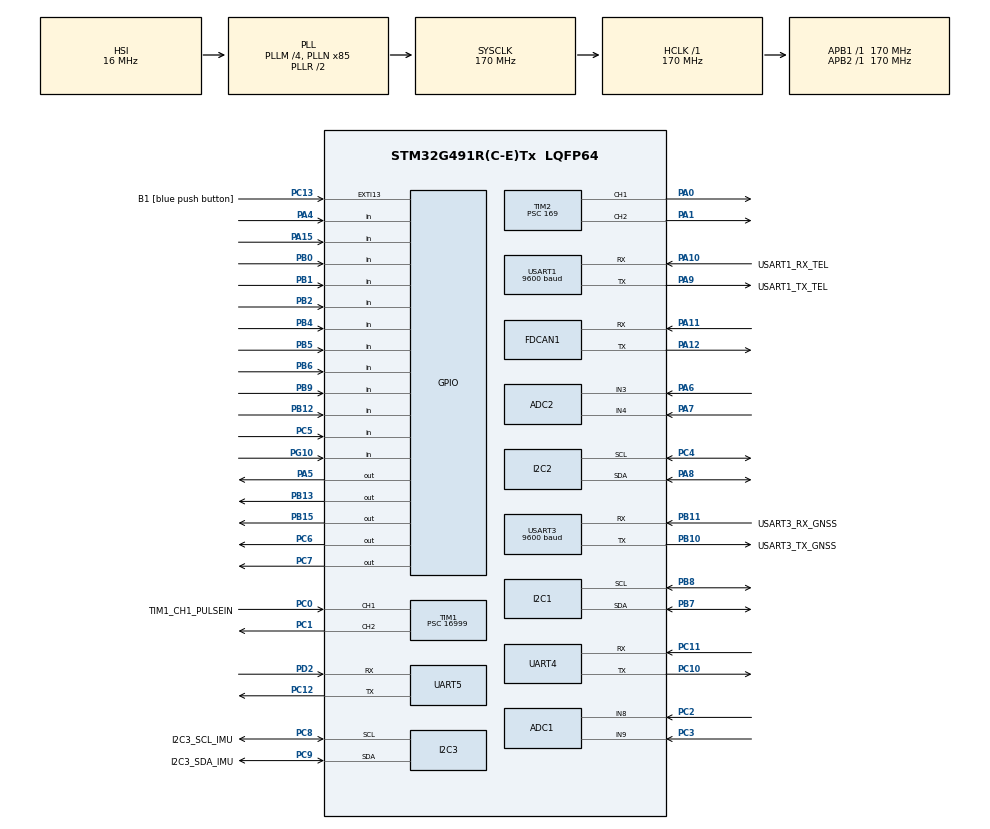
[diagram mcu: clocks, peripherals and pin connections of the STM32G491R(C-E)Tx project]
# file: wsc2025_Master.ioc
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ADC1.Channel-0\#ChannelRegularConversion=ADC_CHANNEL_8
ADC1.NbrOfConversionFlag=1
ADC1.OffsetNumber-0\#ChannelRegularConversion=ADC_OFFSET_NONE
ADC1.Rank-0\#ChannelRegularConversion=1
ADC1.SamplingTime-0\#ChannelRegularConversion=ADC_SAMPLETIME_2CYCLES_5
ADC1.master=1
ADC2.Channel-0\#ChannelRegularConversion=ADC_CHANNEL_3
ADC2.NbrOfConversionFlag=1
ADC2.OffsetNumber-0\#ChannelRegularConversion=ADC_OFFSET_NONE
ADC2.Rank-0\#ChannelRegularConversion=1
ADC2.SamplingTime-0\#ChannelRegularConversion=ADC_SAMPLETIME_2CYCLES_5
Dma.Request0=USART1_RX
Dma.Request1=USART1_TX
Dma.Request2=USART3_RX
Dma.USART1_RX.0.Direction=DMA_PERIPH_TO_MEMORY
Dma.USART1_RX.0.EventEnable=DISABLE
Dma.USART1_RX.0.Instance=DMA1_Channel1
Dma.USART1_RX.0.MemDataAlignment=DMA_MDATAALIGN_BYTE
Dma.USART1_RX.0.MemInc=DMA_MINC_ENABLE
Dma.USART1_RX.0.Mode=DMA_NORMAL
Dma.USART1_RX.0.PeriphDataAlignment=DMA_PDATAALIGN_BYTE
Dma.USART1_RX.0.PeriphInc=DMA_PINC_DISABLE
Dma.USART1_RX.0.Polarity=HAL_DMAMUX_REQ_GEN_RISING
Dma.USART1_RX.0.Priority=DMA_PRIORITY_LOW
Dma.USART1_RX.0.RequestNumber=1
Dma.USART1_RX.0.SignalID=NONE
Dma.USART1_RX.0.SyncEnable=DISABLE
Dma.USART1_RX.0.SyncPolarity=HAL_DMAMUX_SYNC_NO_EVENT
Dma.USART1_RX.0.SyncRequestNumber=1
Dma.USART1_RX.0.SyncSignalID=NONE
Dma.USART1_TX.1.Direction=DMA_MEMORY_TO_PERIPH
Dma.USART1_TX.1.EventEnable=DISABLE
Dma.USART1_TX.1.Instance=DMA1_Channel2
Dma.USART1_TX.1.MemDataAlignment=DMA_MDATAALIGN_BYTE
Dma.USART1_TX.1.MemInc=DMA_MINC_ENABLE
Dma.USART1_TX.1.Mode=DMA_NORMAL
Dma.USART1_TX.1.PeriphDataAlignment=DMA_PDATAALIGN_BYTE
Dma.USART1_TX.1.PeriphInc=DMA_PINC_DISABLE
Dma.USART1_TX.1.Polarity=HAL_DMAMUX_REQ_GEN_RISING
Dma.USART1_TX.1.Priority=DMA_PRIORITY_LOW
Dma.USART1_TX.1.RequestNumber=1
Dma.USART1_TX.1.SignalID=NONE
Dma.USART1_TX.1.SyncEnable=DISABLE
Dma.USART1_TX.1.SyncPolarity=HAL_DMAMUX_SYNC_NO_EVENT
Dma.USART1_TX.1.SyncRequestNumber=1
Dma.USART1_TX.1.SyncSignalID=NONE
Dma.USART3_RX.2.Direction=DMA_PERIPH_TO_MEMORY
Dma.USART3_RX.2.EventEnable=DISABLE
Dma.USART3_RX.2.Instance=DMA1_Channel3
Dma.USART3_RX.2.MemDataAlignment=DMA_MDATAALIGN_BYTE
Dma.USART3_RX.2.MemInc=DMA_MINC_ENABLE
Dma.USART3_RX.2.Mode=DMA_CIRCULAR
Dma.USART3_RX.2.PeriphDataAlignment=DMA_PDATAALIGN_BYTE
Dma.USART3_RX.2.PeriphInc=DMA_PINC_DISABLE
Dma.USART3_RX.2.Polarity=HAL_DMAMUX_REQ_GEN_RISING
Dma.USART3_RX.2.Priority=DMA_PRIORITY_LOW
Dma.USART3_RX.2.RequestNumber=1
Dma.USART3_RX.2.SignalID=NONE
Dma.USART3_RX.2.SyncEnable=DISABLE
Dma.USART3_RX.2.SyncPolarity=HAL_DMAMUX_SYNC_NO_EVENT
Dma.USART3_RX.2.SyncRequestNumber=1
Dma.USART3_RX.2.SyncSignalID=NONE
FDCAN1.CalculateBaudRateNominal=500000
FDCAN1.CalculateTimeBitNominal=2000
FDCAN1.CalculateTimeQuantumNominal=400.0
FDCAN1.NominalPrescaler=68
I2C1.Timing=0x40B285C2
I2C2.Timing=0x40B285C2
I2C3.Timing=0x40B285C2
Mcu.Family=STM32G4
Mcu.Name=STM32G491R(C-E)Tx
Mcu.Package=LQFP64
NUCLEO-G491RE.Bsp_Common_DEMO=true
NUCLEO-G491RE.LD2=true
NUCLEO-G491RE.VCP=true
NVIC.DMA1_Channel1_IRQn=true\:0\:0\:false\:false\:true\:false\:true\:true
NVIC.DMA1_Channel2_IRQn=true\:0\:0\:false\:false\:true\:false\:true\:true
NVIC.DMA1_Channel3_IRQn=true\:0\:0\:false\:false\:true\:false\:true\:true
NVIC.EXTI15_10_IRQn=true\:0\:0\:false\:false\:true\:true\:true\:true
NVIC.FDCAN1_IT0_IRQn=true\:0\:0\:false\:false\:true\:true\:true\:true
NVIC.PriorityGroup=NVIC_PRIORITYGROUP_4
NVIC.TIM1_CC_IRQn=true\:0\:0\:false\:false\:true\:true\:true\:true
PA0.Signal=S_TIM2_CH1
PA1.Signal=S_TIM2_CH2
PA10.GPIO_Label=USART1_RX_TEL
PA10.Mode=Asynchronous
PA10.Signal=USART1_RX
PA11.Mode=FDCAN_Activate
PA11.Signal=FDCAN1_RX
PA12.Mode=FDCAN_Activate
PA12.Signal=FDCAN1_TX
PA13.GPIO_Label=T_SWDIO
PA13.Signal=SYS_JTMS-SWDIO
PA14.GPIO_Label=T_SWCLK
PA14.Signal=SYS_JTCK-SWCLK
PA15.Signal=GPIO_Input
PA2.Signal=LPUART1_TX
PA3.Signal=LPUART1_RX
PA4.Signal=GPIO_Input
PA5.Signal=GPIO_Output
PA6.Mode=IN3-Single-Ended
PA6.Signal=ADC2_IN3
PA7.Mode=IN4-Single-Ended
PA7.Signal=ADC2_IN4
PA8.Mode=I2C
PA8.Signal=I2C2_SDA
PA9.GPIO_Label=USART1_TX_TEL
PA9.Mode=Asynchronous
PA9.Signal=USART1_TX
PB0.Signal=GPIO_Input
PB1.Signal=GPIO_Input
PB10.GPIO_Label=USART3_TX_GNSS
PB10.Mode=Asynchronous
PB10.Signal=USART3_TX
PB11.GPIO_Label=USART3_RX_GNSS
PB11.Mode=Asynchronous
PB11.Signal=USART3_RX
PB12.Signal=GPIO_Input
PB13.Signal=GPIO_Output
PB14.Signal=S_TIM15_CH1
PB15.Signal=GPIO_Output
PB2.Signal=GPIO_Input
PB3.GPIO_Label=T_SWO
PB3.Signal=SYS_JTDO-SWO
PB4.Signal=GPIO_Input
PB5.Signal=GPIO_Input
PB6.Signal=GPIO_Input
PB7.Mode=I2C
PB7.Signal=I2C1_SDA
PB8-BOOT0.Mode=I2C
PB8-BOOT0.Signal=I2C1_SCL
PB9.Signal=GPIO_Input
PC0.GPIO_Label=TIM1_CH1_PULSEIN
PC0.Signal=S_TIM1_CH1
PC1.Signal=S_TIM1_CH2
PC10.Mode=Asynchronous
PC10.Signal=UART4_TX
PC11.Mode=Asynchronous
PC11.Signal=UART4_RX
PC12.Mode=Asynchronous
PC12.Signal=UART5_TX
PC13.GPIO_Label=B1 [blue push button]
PC13.Signal=GPXTI13
PC14-OSC32_IN.GPIO_Label=RCC_OSC32_IN
PC14-OSC32_IN.Mode=LSE-External-Oscillator
PC14-OSC32_IN.Signal=RCC_OSC32_IN
PC15-OSC32_OUT.GPIO_Label=RCC_OSC32_OUT
PC15-OSC32_OUT.Mode=LSE-External-Oscillator
PC15-OSC32_OUT.Signal=RCC_OSC32_OUT
PC2.Mode=IN8-Single-Ended
PC2.Signal=ADC1_IN8
PC3.Mode=IN9-Single-Ended
PC3.Signal=ADC1_IN9
PC4.Mode=I2C
PC4.Signal=I2C2_SCL
PC5.Signal=GPIO_Input
PC6.Signal=GPIO_Output
PC7.Signal=GPIO_Output
PC8.GPIO_Label=I2C3_SCL_IMU
PC8.Mode=I2C
PC8.Signal=I2C3_SCL
PC9.GPIO_Label=I2C3_SDA_IMU
PC9.Mode=I2C
PC9.Signal=I2C3_SDA
PD2.Mode=Asynchronous
PD2.Signal=UART5_RX
PF0-OSC_IN.GPIO_Label=RCC_OSC_IN
PF0-OSC_IN.Mode=HSE-External-Oscillator
PF0-OSC_IN.Signal=RCC_OSC_IN
PF1-OSC_OUT.GPIO_Label=RCC_OSC_OUT
PF1-OSC_OUT.Mode=HSE-External-Oscillator
PF1-OSC_OUT.Signal=RCC_OSC_OUT
PG10-NRST.Signal=GPIO_Input
ProjectManager.HeapSize=0x200
ProjectManager.StackSize=0x400
ProjectManager.TargetToolchain=STM32CubeIDE
RCC.ADC12Freq_Value=170000000
RCC.ADC345Freq_Value=170000000
RCC.AHBFreq_Value=170000000
RCC.APB1Freq_Value=170000000
RCC.APB1TimFreq_Value=170000000
RCC.APB2Freq_Value=170000000
RCC.APB2TimFreq_Value=170000000
RCC.CortexFreq_Value=170000000
RCC.EXTERNAL_CLOCK_VALUE=12288000
RCC.HCLKFreq_Value=170000000
RCC.HSE_VALUE=24000000
RCC.HSI48_VALUE=48000000
RCC.HSI_VALUE=16000000
RCC.PLLM=RCC_PLLM_DIV4
RCC.PLLN=85
RCC.RTCClockSelection=RCC_RTCCLKSOURCE_LSE
RCC.SYSCLKFreq_VALUE=170000000
RCC.SYSCLKSource=RCC_SYSCLKSOURCE_PLLCLK
RCC.USBFreq_Value=48000000
RCC.VCOOutputFreq_Value=340000000
SH.S_TIM15_CH1.0=TIM15_CH1
SH.S_TIM1_CH1.0=TIM1_CH1,Input_Capture1_from_TI1
SH.S_TIM1_CH2.0=TIM1_CH2,PWM Generation2 CH2
SH.S_TIM2_CH1.0=TIM2_CH1,PWM Generation1 CH1
SH.S_TIM2_CH2.0=TIM2_CH2,PWM Generation2 CH2
TIM1.Channel-Input_Capture1_from_TI1=TIM_CHANNEL_1
TIM1.Channel-PWM\ Generation2\ CH2=TIM_CHANNEL_2
TIM1.Prescaler=16999
TIM2.Channel-PWM\ Generation1\ CH1=TIM_CHANNEL_1
TIM2.Channel-PWM\ Generation2\ CH2=TIM_CHANNEL_2
TIM2.PeriodNoDither=4999
TIM2.Prescaler=169
USART1.BaudRate=9600
USART1.VirtualMode-Asynchronous=VM_ASYNC
USART3.BaudRate=9600
USART3.VirtualMode-Asynchronous=VM_ASYNC
VP_NUCLEO-G491RE_VS_BSP_COMMON.Mode=COMMON
VP_SYS_VS_DBSignals.Mode=DisableDeadBatterySignals
board=NUCLEO-G491RE

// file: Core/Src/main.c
/* USER CODE BEGIN Header */
/**
  ******************************************************************************
  * @file           : main.c
  * @brief          : Main program body
  ******************************************************************************
  * @attention
  *
  * Copyright (c) 2024 STMicroelectronics.
  * All rights reserved.
  *
  * This software is licensed under terms that can be found in the LICENSE file
  * in the root directory of this software component.
  * If no LICENSE file comes with this software, it is provided AS-IS.
  *
  ******************************************************************************
  */
/* USER CODE END Header */
#include "main.h"

/* USER CODE BEGIN Includes */
#include "stdbool.h"
#include "string.h"
#include "stdio.h" // for snprintf
#include "can.h"	// CAN

/* USER CODE END Includes */

/* USER CODE BEGIN PTD */
////////////////////////////////////////////////////////////////////
////////////////////////////////////////////////////////////////////
typedef enum {    // FSM State
    STATE_POWER_OFF,
    STATE_INIT_ECU,
    STATE_INIT_SYSTEM,
    STATE_FAILURE,
    STATE_MANUAL_DRIVE,
    STATE_CRUISE_DRIVE
} VehicleState;

typedef struct {	// CanMessage
	uint32_t id;
	uint8_t data[8];
	uint8_t dlc;
} CANMessage;

/* USER CODE END PTD */

/* USER CODE BEGIN PD */
////////////////////////////////////////////////////////////////////
////////////////////////////////////////////////////////////////////
#define RX_BUFFER_SIZE 64
#define TX_BUFFER_SIZE 64

// Blink interval for LED Test
#define LED_BLINK_INTERVAL_POWER_OFF   1000  // 1.0s
#define LED_BLINK_INTERVAL_INIT_ECU    500   // 0.5s
#define LED_BLINK_INTERVAL_INIT_SYSTEM 200   // 0.2s
#define LED_BLINK_INTERVAL_FAILURE     100   // 0.1s
#define LED_BLINK_INTERVAL_MANUAL_DRIVE 300  // 0.3s
#define LED_BLINK_INTERVAL_CRUISE_DRIVE 800  // 0.8s

#define WHEEL_DIAMETER_MM 560    // wheel diameter(mm)
#define PULSE_PER_ROTATION 48    // pulse per rotation
#define TIMEOUT_THRESHOLD_MS 500 // Tiemout for velocity 0

#define VCP_UART &hcom_uart[COM1] // vpc uart port number

// Switch Debouncing time
#define DEBOUNCE_DELAY 50 // 50ms

// CAN Message
#define MAX_CAN_MESSAGES 42  // max can message to receive
#define UART_SEND_INTERVAL	100 // UART transmission period for CAN Message serial print

/* USER CODE END PD */

COM_InitTypeDef BspCOMInit;
__IO uint32_t BspButtonState = BUTTON_RELEASED;
ADC_HandleTypeDef hadc1;
ADC_HandleTypeDef hadc2;

FDCAN_HandleTypeDef hfdcan1;

I2C_HandleTypeDef hi2c1;
I2C_HandleTypeDef hi2c2;
I2C_HandleTypeDef hi2c3;

TIM_HandleTypeDef htim1;
TIM_HandleTypeDef htim2;

UART_HandleTypeDef huart4;
UART_HandleTypeDef huart5;
UART_HandleTypeDef huart1;
UART_HandleTypeDef huart3;
DMA_HandleTypeDef hdma_usart1_rx;
DMA_HandleTypeDef hdma_usart1_tx;
DMA_HandleTypeDef hdma_usart3_rx;

/* USER CODE BEGIN PV */
////////////////////////////////////////////////////////////////////
////////////////////////////////////////////////////////////////////
uint8_t rxBuffer[RX_BUFFER_SIZE];
uint8_t txBuffer[TX_BUFFER_SIZE];

VehicleState currentState = STATE_POWER_OFF;  // initial state
uint32_t ledBlinkInterval = LED_BLINK_INTERVAL_POWER_OFF; // LED blink interval

// Capture Timer and timeout counter variable
volatile uint32_t captureValue = 0;    // capture value
volatile uint32_t timeoutCounter = 0;  // timeout counter

// Last Button pressed time
uint32_t lastButtonPressTime = 0; // for save last button pressed time
CANMessage canMessages[MAX_CAN_MESSAGES]; // CAN message buffer
uint8_t canMessageCount = 0;   // current message count
uint32_t lastUartSendTime = 0; // last UART transmission time

// GNSS UART Buffer
uint8_t usart3RxBuffer[RX_BUFFER_SIZE];   // USART3 RX 데이터 버퍼
uint8_t vcpTxBuffer[RX_BUFFER_SIZE];      // VCP TX 데이터 버퍼

// test variable
uint8_t xTest = 0;
uint8_t testData[8] = {0x11, 0x22, 0x33, 0x44, 0x55, 0x66, 0x77, 0x88};

/* USER CODE END PV */

void SystemClock_Config(void);
static void MX_GPIO_Init(void);
static void MX_DMA_Init(void);
static void MX_ADC1_Init(void);
static void MX_ADC2_Init(void);
static void MX_FDCAN1_Init(void);
static void MX_I2C1_Init(void);
static void MX_I2C2_Init(void);
static void MX_I2C3_Init(void);
static void MX_UART4_Init(void);
static void MX_UART5_Init(void);
static void MX_USART1_UART_Init(void);
static void MX_USART3_UART_Init(void);
static void MX_TIM1_Init(void);
static void MX_TIM2_Init(void);
/* USER CODE BEGIN PFP */
////////////////////////////////////////////////////////////////////
////////////////////////////////////////////////////////////////////

// define function for UART
void Start_UART_DMA_Receive(void);
void Start_UART_DMA_Transmit(void);

// define function for each state
void handlePowerOffState(void);
void handleInitECUState(void);
void handleInitSystemState(void);
void handleFailureState(void);
void handleManualDriveState(void);
void handleCruiseDriveState(void);

// stateMachine Update
void stateMachineUpdate(void);
int isInitSuccess(void);

// state transitions
void changeVehicleState(VehicleState newState);			   // Func for State Machine transition

// detect button pushed event
int isModeSwitchPushed(void);							   // Mode Switch Pushed event

// cruise related private function prototype
void HAL_TIM_IC_CaptureCallback(TIM_HandleTypeDef *htim);  // Timer Input Capture callback
void checkTimeout(void);                                   // Timeout Check
float getVelocity(void);                                   // Get velocity
void initPWM(void);										   // init Acceleration volume
void setPWMDutyCycle(uint16_t duty);					   // setPWMDutyCycle

// serial print for debug
//void UART_SendMessage(char *message);						//UART print via VCP

// CAN RX callback
void processCanMessages(void);								// Rx FIFO0 CAN message
void CAN_TxMessage(uint32_t id, uint8_t dlc, uint8_t *data); // Call Tx message
// CAN error counter
void printCanErrorCounters(void);

// UART DMA Interrupt Callback
void HAL_UART_RxCpltCallback(UART_HandleTypeDef *huart);    // UART RX Callback

/* USER CODE END PFP */

int main(void)
{

  /* MCU Configuration--------------------------------------------------------*/

  /* Reset of all peripherals, Initializes the Flash interface and the Systick. */
  HAL_Init();

  /* Configure the system clock */
  SystemClock_Config();

  /* Initialize all configured peripherals */
  MX_GPIO_Init();

  MX_ADC1_Init();
  MX_ADC2_Init();
  MX_FDCAN1_Init();
  MX_I2C1_Init();
  MX_I2C2_Init();
  MX_I2C3_Init();
  MX_UART4_Init();
  MX_UART5_Init();
  MX_USART1_UART_Init();
  MX_TIM1_Init();
  MX_TIM2_Init();
  /* USER CODE BEGIN 2 */

  // Activate FDCAN RX Interrupt for new message
  // RX int activate

  /* USER CODE END 2 */

  /* Initialize led */
  BSP_LED_Init(LED_GREEN);

  /* Initialize COM1 port (115200, 8 bits (7-bit data + 1 stop bit), no parity */
  BspCOMInit.BaudRate   = 115200;
  BspCOMInit.WordLength = COM_WORDLENGTH_8B;
  BspCOMInit.StopBits   = COM_STOPBITS_1;
  BspCOMInit.Parity     = COM_PARITY_NONE;
  BspCOMInit.HwFlowCtl  = COM_HWCONTROL_NONE;
  if (BSP_COM_Init(COM1, &BspCOMInit) != BSP_ERROR_NONE)
  {
    Error_Handler();
  }

  /* USER CODE BEGIN BSP */
  printf("Initializing BSP\r\n");

  /* -- Sample board code to switch on led ---- */
  BSP_LED_On(LED_GREEN); // test code

  //start over velocity measurement
  HAL_TIM_IC_Start_IT(&htim2, TIM_CHANNEL_2);
  printf("Initializing Acc Volume... \r\n");

  //init PWM
  initPWM();							//Init for PWM duty
  setPWMDutyCycle(0);					// initial PWM Duty = 0%
  printf("Set Acc Volume at 0 \r\n");

  //init PWM to DC Output
  HAL_GPIO_WritePin(GPIOB, GPIO_PIN_13, GPIO_PIN_SET);		// switch on PWM Output Enable
  HAL_GPIO_WritePin(GPIOB, GPIO_PIN_15, GPIO_PIN_SET);		// switch on MUX Select switch
  printf("Acc Volume Gate On \r\n");

  /*
  	  	FDCAN_ErrorCountersTypeDef errorCounters;
	    FDCAN_ProtocolStatusTypeDef protocolStatus;
	    setPWMDutyCycle(45); // test PWM outa
	    HAL_FDCAN_GetErrorCounters(&hfdcan1, &errorCounters);
	    HAL_FDCAN_GetProtocolStatus(&hfdcan1, &protocolStatus);
	    processCanMessages();
	    HAL_Delay(1000);
   */
  HAL_Delay(200); // delay
  printf("Getting ready to operation \r\n");
  HAL_Delay(200);
  printf("Initialize FDCAN1 \r\n");
  HAL_FDCAN_ActivateNotification(&hfdcan1, FDCAN_IT_RX_FIFO0_NEW_MESSAGE, 0);  // Receive All data from RX FIFO0
  HAL_FDCAN_Start(&hfdcan1); // start over CAN
  HAL_Delay(200);
  // Start over GNSS Data Streaming
  MX_DMA_Init(); // Init DMA
  printf("Initialize GNSS UART data streaming \r\n");
  MX_USART3_UART_Init();
  HAL_Delay(200);
  /* USER CODE END BSP */

  /* Infinite loop */
  while (1)
    {
	// USART3에서 받은 데이터를 VCP로 전송

	stateMachineUpdate();

	if (HAL_UART_Transmit(&hcom_uart[COM1], usart3RxBuffer, RX_BUFFER_SIZE, HAL_MAX_DELAY) != HAL_OK) {
		printf("Failed to send data to VCP.\r\n");
	}
	processCanMessages();

	CAN_TxMessage(0x300, 8, testData);

	HAL_Delay(500);  //
	setPWMDutyCycle(80);

    }
}

void SystemClock_Config(void)
{
  RCC_OscInitTypeDef RCC_OscInitStruct = {0};
  RCC_ClkInitTypeDef RCC_ClkInitStruct = {0};

  /** Configure the main internal regulator output voltage
  */
  HAL_PWREx_ControlVoltageScaling(PWR_REGULATOR_VOLTAGE_SCALE1_BOOST);

  /** Initializes the RCC Oscillators according to the specified parameters
  * in the RCC_OscInitTypeDef structure.
  */
  RCC_OscInitStruct.OscillatorType = RCC_OSCILLATORTYPE_HSI;
  RCC_OscInitStruct.HSIState = RCC_HSI_ON;
  RCC_OscInitStruct.HSICalibrationValue = RCC_HSICALIBRATION_DEFAULT;
  RCC_OscInitStruct.PLL.PLLState = RCC_PLL_ON;
  RCC_OscInitStruct.PLL.PLLSource = RCC_PLLSOURCE_HSI;
  RCC_OscInitStruct.PLL.PLLM = RCC_PLLM_DIV4;
  RCC_OscInitStruct.PLL.PLLN = 85;
  RCC_OscInitStruct.PLL.PLLP = RCC_PLLP_DIV2;
  RCC_OscInitStruct.PLL.PLLQ = RCC_PLLQ_DIV2;
  RCC_OscInitStruct.PLL.PLLR = RCC_PLLR_DIV2;
  if (HAL_RCC_OscConfig(&RCC_OscInitStruct) != HAL_OK)
  {
    Error_Handler();
  }

  /** Initializes the CPU, AHB and APB buses clocks
  */
  RCC_ClkInitStruct.ClockType = RCC_CLOCKTYPE_HCLK|RCC_CLOCKTYPE_SYSCLK
                              |RCC_CLOCKTYPE_PCLK1|RCC_CLOCKTYPE_PCLK2;
  RCC_ClkInitStruct.SYSCLKSource = RCC_SYSCLKSOURCE_PLLCLK;
  RCC_ClkInitStruct.AHBCLKDivider = RCC_SYSCLK_DIV1;
  RCC_ClkInitStruct.APB1CLKDivider = RCC_HCLK_DIV1;
  RCC_ClkInitStruct.APB2CLKDivider = RCC_HCLK_DIV1;

  if (HAL_RCC_ClockConfig(&RCC_ClkInitStruct, FLASH_LATENCY_4) != HAL_OK)
  {
    Error_Handler();
  }
}

static void MX_ADC1_Init(void)
{

  ADC_MultiModeTypeDef multimode = {0};
  ADC_ChannelConfTypeDef sConfig = {0};

  /** Common config
  */
  hadc1.Instance = ADC1;
  hadc1.Init.ClockPrescaler = ADC_CLOCK_SYNC_PCLK_DIV4;
  hadc1.Init.Resolution = ADC_RESOLUTION_12B;
  hadc1.Init.DataAlign = ADC_DATAALIGN_RIGHT;
  hadc1.Init.GainCompensation = 0;
  hadc1.Init.ScanConvMode = ADC_SCAN_DISABLE;
  hadc1.Init.EOCSelection = ADC_EOC_SINGLE_CONV;
  hadc1.Init.LowPowerAutoWait = DISABLE;
  hadc1.Init.ContinuousConvMode = DISABLE;
  hadc1.Init.NbrOfConversion = 1;
  hadc1.Init.DiscontinuousConvMode = DISABLE;
  hadc1.Init.ExternalTrigConv = ADC_SOFTWARE_START;
  hadc1.Init.ExternalTrigConvEdge = ADC_EXTERNALTRIGCONVEDGE_NONE;
  hadc1.Init.DMAContinuousRequests = DISABLE;
  hadc1.Init.Overrun = ADC_OVR_DATA_PRESERVED;
  hadc1.Init.OversamplingMode = DISABLE;
  if (HAL_ADC_Init(&hadc1) != HAL_OK)
  {
    Error_Handler();
  }

  /** Configure the ADC multi-mode
  */
  multimode.Mode = ADC_MODE_INDEPENDENT;
  if (HAL_ADCEx_MultiModeConfigChannel(&hadc1, &multimode) != HAL_OK)
  {
    Error_Handler();
  }

  /** Configure Regular Channel
  */
  sConfig.Channel = ADC_CHANNEL_8;
  sConfig.Rank = ADC_REGULAR_RANK_1;
  sConfig.SamplingTime = ADC_SAMPLETIME_2CYCLES_5;
  sConfig.SingleDiff = ADC_SINGLE_ENDED;
  sConfig.OffsetNumber = ADC_OFFSET_NONE;
  sConfig.Offset = 0;
  if (HAL_ADC_ConfigChannel(&hadc1, &sConfig) != HAL_OK)
  {
    Error_Handler();
  }

}

static void MX_ADC2_Init(void)
{

  ADC_ChannelConfTypeDef sConfig = {0};

  /** Common config
  */
  hadc2.Instance = ADC2;
  hadc2.Init.ClockPrescaler = ADC_CLOCK_SYNC_PCLK_DIV4;
  hadc2.Init.Resolution = ADC_RESOLUTION_12B;
  hadc2.Init.DataAlign = ADC_DATAALIGN_RIGHT;
  hadc2.Init.GainCompensation = 0;
  hadc2.Init.ScanConvMode = ADC_SCAN_DISABLE;
  hadc2.Init.EOCSelection = ADC_EOC_SINGLE_CONV;
  hadc2.Init.LowPowerAutoWait = DISABLE;
  hadc2.Init.ContinuousConvMode = DISABLE;
  hadc2.Init.NbrOfConversion = 1;
  hadc2.Init.DiscontinuousConvMode = DISABLE;
  hadc2.Init.ExternalTrigConv = ADC_SOFTWARE_START;
  hadc2.Init.ExternalTrigConvEdge = ADC_EXTERNALTRIGCONVEDGE_NONE;
  hadc2.Init.DMAContinuousRequests = DISABLE;
  hadc2.Init.Overrun = ADC_OVR_DATA_PRESERVED;
  hadc2.Init.OversamplingMode = DISABLE;
  if (HAL_ADC_Init(&hadc2) != HAL_OK)
  {
    Error_Handler();
  }

  /** Configure Regular Channel
  */
  sConfig.Channel = ADC_CHANNEL_3;
  sConfig.Rank = ADC_REGULAR_RANK_1;
  sConfig.SamplingTime = ADC_SAMPLETIME_2CYCLES_5;
  sConfig.SingleDiff = ADC_SINGLE_ENDED;
  sConfig.OffsetNumber = ADC_OFFSET_NONE;
  sConfig.Offset = 0;
  if (HAL_ADC_ConfigChannel(&hadc2, &sConfig) != HAL_OK)
  {
    Error_Handler();
  }

}

static void MX_FDCAN1_Init(void)
{

  hfdcan1.Instance = FDCAN1;
  hfdcan1.Init.ClockDivider = FDCAN_CLOCK_DIV1;
  hfdcan1.Init.FrameFormat = FDCAN_FRAME_CLASSIC;
  hfdcan1.Init.Mode = FDCAN_MODE_NORMAL;
  hfdcan1.Init.AutoRetransmission = DISABLE;
  hfdcan1.Init.TransmitPause = DISABLE;
  hfdcan1.Init.ProtocolException = DISABLE;
  hfdcan1.Init.NominalPrescaler = 68;
  hfdcan1.Init.NominalSyncJumpWidth = 1;
  hfdcan1.Init.NominalTimeSeg1 = 2;
  hfdcan1.Init.NominalTimeSeg2 = 2;
  hfdcan1.Init.DataPrescaler = 1;
  hfdcan1.Init.DataSyncJumpWidth = 1;
  hfdcan1.Init.DataTimeSeg1 = 1;
  hfdcan1.Init.DataTimeSeg2 = 1;
  hfdcan1.Init.StdFiltersNbr = 0;
  hfdcan1.Init.ExtFiltersNbr = 0;
  hfdcan1.Init.TxFifoQueueMode = FDCAN_TX_FIFO_OPERATION;
  if (HAL_FDCAN_Init(&hfdcan1) != HAL_OK)
  {
    Error_Handler();
  }
  /* USER CODE BEGIN FDCAN1_Init 2 */
  FDCAN_FilterTypeDef sFilterConfig;
  sFilterConfig.IdType = FDCAN_STANDARD_ID; // STD
  sFilterConfig.FilterIndex = 0;
  sFilterConfig.FilterType = FDCAN_FILTER_RANGE_NO_EIDM;
  sFilterConfig.FilterConfig = FDCAN_FILTER_TO_RXFIFO0; // RX FIFO0
  sFilterConfig.FilterID1 = 0x100; 					//
  sFilterConfig.FilterID2 = 0x200; 						//

  if (HAL_FDCAN_ConfigFilter(&hfdcan1, &sFilterConfig) != HAL_OK)
  {
      Error_Handler(); // ?��?�� ?��?�� ?��?�� ?�� ?��?�� 처리
      printf("Filter Configuration Fail");
  }

  /* USER CODE END FDCAN1_Init 2 */

}

static void MX_I2C1_Init(void)
{

  hi2c1.Instance = I2C1;
  hi2c1.Init.Timing = 0x40B285C2;
  hi2c1.Init.OwnAddress1 = 0;
  hi2c1.Init.AddressingMode = I2C_ADDRESSINGMODE_7BIT;
  hi2c1.Init.DualAddressMode = I2C_DUALADDRESS_DISABLE;
  hi2c1.Init.OwnAddress2 = 0;
  hi2c1.Init.OwnAddress2Masks = I2C_OA2_NOMASK;
  hi2c1.Init.GeneralCallMode = I2C_GENERALCALL_DISABLE;
  hi2c1.Init.NoStretchMode = I2C_NOSTRETCH_DISABLE;
  if (HAL_I2C_Init(&hi2c1) != HAL_OK)
  {
    Error_Handler();
  }

  /** Configure Analogue filter
  */
  if (HAL_I2CEx_ConfigAnalogFilter(&hi2c1, I2C_ANALOGFILTER_ENABLE) != HAL_OK)
  {
    Error_Handler();
  }

  /** Configure Digital filter
  */
  if (HAL_I2CEx_ConfigDigitalFilter(&hi2c1, 0) != HAL_OK)
  {
    Error_Handler();
  }

}

static void MX_I2C2_Init(void)
{

  hi2c2.Instance = I2C2;
  hi2c2.Init.Timing = 0x40B285C2;
  hi2c2.Init.OwnAddress1 = 0;
  hi2c2.Init.AddressingMode = I2C_ADDRESSINGMODE_7BIT;
  hi2c2.Init.DualAddressMode = I2C_DUALADDRESS_DISABLE;
  hi2c2.Init.OwnAddress2 = 0;
  hi2c2.Init.OwnAddress2Masks = I2C_OA2_NOMASK;
  hi2c2.Init.GeneralCallMode = I2C_GENERALCALL_DISABLE;
  hi2c2.Init.NoStretchMode = I2C_NOSTRETCH_DISABLE;
  if (HAL_I2C_Init(&hi2c2) != HAL_OK)
  {
    Error_Handler();
  }

  /** Configure Analogue filter
  */
  if (HAL_I2CEx_ConfigAnalogFilter(&hi2c2, I2C_ANALOGFILTER_ENABLE) != HAL_OK)
  {
    Error_Handler();
  }

  /** Configure Digital filter
  */
  if (HAL_I2CEx_ConfigDigitalFilter(&hi2c2, 0) != HAL_OK)
  {
    Error_Handler();
  }

}

static void MX_I2C3_Init(void)
{

  hi2c3.Instance = I2C3;
  hi2c3.Init.Timing = 0x40B285C2;
  hi2c3.Init.OwnAddress1 = 0;
  hi2c3.Init.AddressingMode = I2C_ADDRESSINGMODE_7BIT;
  hi2c3.Init.DualAddressMode = I2C_DUALADDRESS_DISABLE;
  hi2c3.Init.OwnAddress2 = 0;
  hi2c3.Init.OwnAddress2Masks = I2C_OA2_NOMASK;
  hi2c3.Init.GeneralCallMode = I2C_GENERALCALL_DISABLE;
  hi2c3.Init.NoStretchMode = I2C_NOSTRETCH_DISABLE;
  if (HAL_I2C_Init(&hi2c3) != HAL_OK)
  {
    Error_Handler();
  }

  /** Configure Analogue filter
  */
  if (HAL_I2CEx_ConfigAnalogFilter(&hi2c3, I2C_ANALOGFILTER_ENABLE) != HAL_OK)
  {
    Error_Handler();
  }

  /** Configure Digital filter
  */
  if (HAL_I2CEx_ConfigDigitalFilter(&hi2c3, 0) != HAL_OK)
  {
    Error_Handler();
  }

}

static void MX_TIM1_Init(void)
{

  TIM_MasterConfigTypeDef sMasterConfig = {0};
  TIM_IC_InitTypeDef sConfigIC = {0};
  TIM_OC_InitTypeDef sConfigOC = {0};
  TIM_BreakDeadTimeConfigTypeDef sBreakDeadTimeConfig = {0};

  htim1.Instance = TIM1;
  htim1.Init.Prescaler = 16999;
  htim1.Init.CounterMode = TIM_COUNTERMODE_UP;
  htim1.Init.Period = 65535;
  htim1.Init.ClockDivision = TIM_CLOCKDIVISION_DIV1;
  htim1.Init.RepetitionCounter = 0;
  htim1.Init.AutoReloadPreload = TIM_AUTORELOAD_PRELOAD_DISABLE;
  if (HAL_TIM_IC_Init(&htim1) != HAL_OK)
  {
    Error_Handler();
  }
  if (HAL_TIM_PWM_Init(&htim1) != HAL_OK)
  {
    Error_Handler();
  }
  sMasterConfig.MasterOutputTrigger = TIM_TRGO_RESET;
  sMasterConfig.MasterOutputTrigger2 = TIM_TRGO2_RESET;
  sMasterConfig.MasterSlaveMode = TIM_MASTERSLAVEMODE_DISABLE;
  if (HAL_TIMEx_MasterConfigSynchronization(&htim1, &sMasterConfig) != HAL_OK)
  {
    Error_Handler();
  }
  sConfigIC.ICPolarity = TIM_INPUTCHANNELPOLARITY_RISING;
  sConfigIC.ICSelection = TIM_ICSELECTION_DIRECTTI;
  sConfigIC.ICPrescaler = TIM_ICPSC_DIV1;
  sConfigIC.ICFilter = 0;
  if (HAL_TIM_IC_ConfigChannel(&htim1, &sConfigIC, TIM_CHANNEL_1) != HAL_OK)
  {
    Error_Handler();
  }
  sConfigOC.OCMode = TIM_OCMODE_PWM1;
  sConfigOC.Pulse = 0;
  sConfigOC.OCPolarity = TIM_OCPOLARITY_HIGH;
  sConfigOC.OCNPolarity = TIM_OCNPOLARITY_HIGH;
  sConfigOC.OCFastMode = TIM_OCFAST_DISABLE;
  sConfigOC.OCIdleState = TIM_OCIDLESTATE_RESET;
  sConfigOC.OCNIdleState = TIM_OCNIDLESTATE_RESET;
  if (HAL_TIM_PWM_ConfigChannel(&htim1, &sConfigOC, TIM_CHANNEL_2) != HAL_OK)
  {
    Error_Handler();
  }
  sBreakDeadTimeConfig.OffStateRunMode = TIM_OSSR_DISABLE;
  sBreakDeadTimeConfig.OffStateIDLEMode = TIM_OSSI_DISABLE;
  sBreakDeadTimeConfig.LockLevel = TIM_LOCKLEVEL_OFF;
  sBreakDeadTimeConfig.DeadTime = 0;
  sBreakDeadTimeConfig.BreakState = TIM_BREAK_DISABLE;
  sBreakDeadTimeConfig.BreakPolarity = TIM_BREAKPOLARITY_HIGH;
  sBreakDeadTimeConfig.BreakFilter = 0;
  sBreakDeadTimeConfig.BreakAFMode = TIM_BREAK_AFMODE_INPUT;
  sBreakDeadTimeConfig.Break2State = TIM_BREAK2_DISABLE;
  sBreakDeadTimeConfig.Break2Polarity = TIM_BREAK2POLARITY_HIGH;
  sBreakDeadTimeConfig.Break2Filter = 0;
  sBreakDeadTimeConfig.Break2AFMode = TIM_BREAK_AFMODE_INPUT;
  sBreakDeadTimeConfig.AutomaticOutput = TIM_AUTOMATICOUTPUT_DISABLE;
  if (HAL_TIMEx_ConfigBreakDeadTime(&htim1, &sBreakDeadTimeConfig) != HAL_OK)
  {
    Error_Handler();
  }
  HAL_TIM_MspPostInit(&htim1);

}

static void MX_TIM2_Init(void)
{

  TIM_MasterConfigTypeDef sMasterConfig = {0};
  TIM_OC_InitTypeDef sConfigOC = {0};

  htim2.Instance = TIM2;
  htim2.Init.Prescaler = 169;
  htim2.Init.CounterMode = TIM_COUNTERMODE_UP;
  htim2.Init.Period = 4999;
  htim2.Init.ClockDivision = TIM_CLOCKDIVISION_DIV1;
  htim2.Init.AutoReloadPreload = TIM_AUTORELOAD_PRELOAD_DISABLE;
  if (HAL_TIM_PWM_Init(&htim2) != HAL_OK)
  {
    Error_Handler();
  }
  sMasterConfig.MasterOutputTrigger = TIM_TRGO_RESET;
  sMasterConfig.MasterSlaveMode = TIM_MASTERSLAVEMODE_DISABLE;
  if (HAL_TIMEx_MasterConfigSynchronization(&htim2, &sMasterConfig) != HAL_OK)
  {
    Error_Handler();
  }
  sConfigOC.OCMode = TIM_OCMODE_PWM1;
  sConfigOC.Pulse = 0;
  sConfigOC.OCPolarity = TIM_OCPOLARITY_HIGH;
  sConfigOC.OCFastMode = TIM_OCFAST_DISABLE;
  if (HAL_TIM_PWM_ConfigChannel(&htim2, &sConfigOC, TIM_CHANNEL_1) != HAL_OK)
  {
    Error_Handler();
  }
  if (HAL_TIM_PWM_ConfigChannel(&htim2, &sConfigOC, TIM_CHANNEL_2) != HAL_OK)
  {
    Error_Handler();
  }
  HAL_TIM_MspPostInit(&htim2);

}

static void MX_UART4_Init(void)
{

  huart4.Instance = UART4;
  huart4.Init.BaudRate = 115200;
  huart4.Init.WordLength = UART_WORDLENGTH_8B;
  huart4.Init.StopBits = UART_STOPBITS_1;
  huart4.Init.Parity = UART_PARITY_NONE;
  huart4.Init.Mode = UART_MODE_TX_RX;
  huart4.Init.HwFlowCtl = UART_HWCONTROL_NONE;
  huart4.Init.OverSampling = UART_OVERSAMPLING_16;
  huart4.Init.OneBitSampling = UART_ONE_BIT_SAMPLE_DISABLE;
  huart4.Init.ClockPrescaler = UART_PRESCALER_DIV1;
  huart4.AdvancedInit.AdvFeatureInit = UART_ADVFEATURE_NO_INIT;
  if (HAL_UART_Init(&huart4) != HAL_OK)
  {
    Error_Handler();
  }
  if (HAL_UARTEx_SetTxFifoThreshold(&huart4, UART_TXFIFO_THRESHOLD_1_8) != HAL_OK)
  {
    Error_Handler();
  }
  if (HAL_UARTEx_SetRxFifoThreshold(&huart4, UART_RXFIFO_THRESHOLD_1_8) != HAL_OK)
  {
    Error_Handler();
  }
  if (HAL_UARTEx_DisableFifoMode(&huart4) != HAL_OK)
  {
    Error_Handler();
  }

}

static void MX_UART5_Init(void)
{

  huart5.Instance = UART5;
  huart5.Init.BaudRate = 115200;
  huart5.Init.WordLength = UART_WORDLENGTH_8B;
  huart5.Init.StopBits = UART_STOPBITS_1;
  huart5.Init.Parity = UART_PARITY_NONE;
  huart5.Init.Mode = UART_MODE_TX_RX;
  huart5.Init.HwFlowCtl = UART_HWCONTROL_NONE;
  huart5.Init.OverSampling = UART_OVERSAMPLING_16;
  huart5.Init.OneBitSampling = UART_ONE_BIT_SAMPLE_DISABLE;
  huart5.Init.ClockPrescaler = UART_PRESCALER_DIV1;
  huart5.AdvancedInit.AdvFeatureInit = UART_ADVFEATURE_NO_INIT;
  if (HAL_UART_Init(&huart5) != HAL_OK)
  {
    Error_Handler();
  }
  if (HAL_UARTEx_SetTxFifoThreshold(&huart5, UART_TXFIFO_THRESHOLD_1_8) != HAL_OK)
  {
    Error_Handler();
  }
  if (HAL_UARTEx_SetRxFifoThreshold(&huart5, UART_RXFIFO_THRESHOLD_1_8) != HAL_OK)
  {
    Error_Handler();
  }
  if (HAL_UARTEx_DisableFifoMode(&huart5) != HAL_OK)
  {
    Error_Handler();
  }

}

static void MX_USART1_UART_Init(void)
{

  huart1.Instance = USART1;
  huart1.Init.BaudRate = 9600;
  huart1.Init.WordLength = UART_WORDLENGTH_8B;
  huart1.Init.StopBits = UART_STOPBITS_1;
  huart1.Init.Parity = UART_PARITY_NONE;
  huart1.Init.Mode = UART_MODE_TX_RX;
  huart1.Init.HwFlowCtl = UART_HWCONTROL_NONE;
  huart1.Init.OverSampling = UART_OVERSAMPLING_16;
  huart1.Init.OneBitSampling = UART_ONE_BIT_SAMPLE_DISABLE;
  huart1.Init.ClockPrescaler = UART_PRESCALER_DIV1;
  huart1.AdvancedInit.AdvFeatureInit = UART_ADVFEATURE_NO_INIT;
  if (HAL_UART_Init(&huart1) != HAL_OK)
  {
    Error_Handler();
  }
  if (HAL_UARTEx_SetTxFifoThreshold(&huart1, UART_TXFIFO_THRESHOLD_1_8) != HAL_OK)
  {
    Error_Handler();
  }
  if (HAL_UARTEx_SetRxFifoThreshold(&huart1, UART_RXFIFO_THRESHOLD_1_8) != HAL_OK)
  {
    Error_Handler();
  }
  if (HAL_UARTEx_DisableFifoMode(&huart1) != HAL_OK)
  {
    Error_Handler();
  }

}

static void MX_USART3_UART_Init(void)
{

  huart3.Instance = USART3;
  huart3.Init.BaudRate = 9600;
  huart3.Init.WordLength = UART_WORDLENGTH_8B;
  huart3.Init.StopBits = UART_STOPBITS_1;
  huart3.Init.Parity = UART_PARITY_NONE;
  huart3.Init.Mode = UART_MODE_TX_RX;
  huart3.Init.HwFlowCtl = UART_HWCONTROL_NONE;
  huart3.Init.OverSampling = UART_OVERSAMPLING_16;
  huart3.Init.OneBitSampling = UART_ONE_BIT_SAMPLE_DISABLE;
  huart3.Init.ClockPrescaler = UART_PRESCALER_DIV1;
  huart3.AdvancedInit.AdvFeatureInit = UART_ADVFEATURE_NO_INIT;
  if (HAL_UART_Init(&huart3) != HAL_OK)
  {
    Error_Handler();
  }
  if (HAL_UARTEx_SetTxFifoThreshold(&huart3, UART_TXFIFO_THRESHOLD_1_8) != HAL_OK)
  {
    Error_Handler();
  }
  if (HAL_UARTEx_SetRxFifoThreshold(&huart3, UART_RXFIFO_THRESHOLD_1_8) != HAL_OK)
  {
    Error_Handler();
  }
  if (HAL_UARTEx_DisableFifoMode(&huart3) != HAL_OK)
  {
    Error_Handler();
  }
  /* USER CODE BEGIN USART3_Init 2 */

  // Start over DMA RX Circular Mode
  HAL_UART_Receive_DMA(&huart3, usart3RxBuffer, RX_BUFFER_SIZE);

  /* USER CODE END USART3_Init 2 */

}

static void MX_DMA_Init(void)
{

  /* DMA controller clock enable */
  __HAL_RCC_DMAMUX1_CLK_ENABLE();
  __HAL_RCC_DMA1_CLK_ENABLE();

  /* DMA interrupt init */
  /* DMA1_Channel1_IRQn interrupt configuration */
  HAL_NVIC_SetPriority(DMA1_Channel1_IRQn, 0, 0);
  HAL_NVIC_EnableIRQ(DMA1_Channel1_IRQn);
  /* DMA1_Channel2_IRQn interrupt configuration */
  HAL_NVIC_SetPriority(DMA1_Channel2_IRQn, 0, 0);
  HAL_NVIC_EnableIRQ(DMA1_Channel2_IRQn);
  /* DMA1_Channel3_IRQn interrupt configuration */
  HAL_NVIC_SetPriority(DMA1_Channel3_IRQn, 0, 0);
  HAL_NVIC_EnableIRQ(DMA1_Channel3_IRQn);

}

static void MX_GPIO_Init(void)
{
  GPIO_InitTypeDef GPIO_InitStruct = {0};

  /* GPIO Ports Clock Enable */
  __HAL_RCC_GPIOC_CLK_ENABLE();
  __HAL_RCC_GPIOF_CLK_ENABLE();
  __HAL_RCC_GPIOG_CLK_ENABLE();
  __HAL_RCC_GPIOA_CLK_ENABLE();
  __HAL_RCC_GPIOB_CLK_ENABLE();
  __HAL_RCC_GPIOD_CLK_ENABLE();

  /*Configure GPIO pin Output Level */
  HAL_GPIO_WritePin(GPIOB, GPIO_PIN_13|GPIO_PIN_15, GPIO_PIN_RESET);

  /*Configure GPIO pin Output Level */
  HAL_GPIO_WritePin(GPIOC, GPIO_PIN_6|GPIO_PIN_7, GPIO_PIN_RESET);

  /*Configure GPIO pin : B1_Pin */
  GPIO_InitStruct.Pin = B1_Pin;
  GPIO_InitStruct.Mode = GPIO_MODE_IT_RISING;
  GPIO_InitStruct.Pull = GPIO_NOPULL;
  HAL_GPIO_Init(B1_GPIO_Port, &GPIO_InitStruct);

  /*Configure GPIO pin : PG10 */
  GPIO_InitStruct.Pin = GPIO_PIN_10;
  GPIO_InitStruct.Mode = GPIO_MODE_INPUT;
  GPIO_InitStruct.Pull = GPIO_NOPULL;
  HAL_GPIO_Init(GPIOG, &GPIO_InitStruct);

  /*Configure GPIO pins : PA4 PA15 */
  GPIO_InitStruct.Pin = GPIO_PIN_4|GPIO_PIN_15;
  GPIO_InitStruct.Mode = GPIO_MODE_INPUT;
  GPIO_InitStruct.Pull = GPIO_NOPULL;
  HAL_GPIO_Init(GPIOA, &GPIO_InitStruct);

  /*Configure GPIO pin : PC5 */
  GPIO_InitStruct.Pin = GPIO_PIN_5;
  GPIO_InitStruct.Mode = GPIO_MODE_INPUT;
  GPIO_InitStruct.Pull = GPIO_NOPULL;
  HAL_GPIO_Init(GPIOC, &GPIO_InitStruct);

  /*Configure GPIO pins : PB0 PB1 PB2 PB12
                           PB4 PB5 PB6 PB9 */
  GPIO_InitStruct.Pin = GPIO_PIN_0|GPIO_PIN_1|GPIO_PIN_2|GPIO_PIN_12
                          |GPIO_PIN_4|GPIO_PIN_5|GPIO_PIN_6|GPIO_PIN_9;
  GPIO_InitStruct.Mode = GPIO_MODE_INPUT;
  GPIO_InitStruct.Pull = GPIO_NOPULL;
  HAL_GPIO_Init(GPIOB, &GPIO_InitStruct);

  /*Configure GPIO pins : PB13 PB15 */
  GPIO_InitStruct.Pin = GPIO_PIN_13|GPIO_PIN_15;
  GPIO_InitStruct.Mode = GPIO_MODE_OUTPUT_PP;
  GPIO_InitStruct.Pull = GPIO_NOPULL;
  GPIO_InitStruct.Speed = GPIO_SPEED_FREQ_LOW;
  HAL_GPIO_Init(GPIOB, &GPIO_InitStruct);

  /*Configure GPIO pin : PB14 */
  GPIO_InitStruct.Pin = GPIO_PIN_14;
  GPIO_InitStruct.Mode = GPIO_MODE_AF_PP;
  GPIO_InitStruct.Pull = GPIO_NOPULL;
  GPIO_InitStruct.Speed = GPIO_SPEED_FREQ_LOW;
  GPIO_InitStruct.Alternate = GPIO_AF1_TIM15;
  HAL_GPIO_Init(GPIOB, &GPIO_InitStruct);

  /*Configure GPIO pins : PC6 PC7 */
  GPIO_InitStruct.Pin = GPIO_PIN_6|GPIO_PIN_7;
  GPIO_InitStruct.Mode = GPIO_MODE_OUTPUT_PP;
  GPIO_InitStruct.Pull = GPIO_NOPULL;
  GPIO_InitStruct.Speed = GPIO_SPEED_FREQ_LOW;
  HAL_GPIO_Init(GPIOC, &GPIO_InitStruct);

  /* EXTI interrupt init*/
  HAL_NVIC_SetPriority(EXTI15_10_IRQn, 0, 0);
  HAL_NVIC_EnableIRQ(EXTI15_10_IRQn);

}

/* USER CODE BEGIN 4 */

void stateMachineUpdate(void) {
    switch (currentState) {
        case STATE_POWER_OFF:
            handlePowerOffState();
            changeVehicleState(STATE_INIT_ECU);
            break;

        case STATE_INIT_ECU:
            handleInitECUState();
            changeVehicleState(STATE_INIT_SYSTEM);
            break;

        case STATE_INIT_SYSTEM:
            handleInitSystemState();
            if (isInitSuccess()) {
                changeVehicleState(STATE_MANUAL_DRIVE);
            }
            break;

        case STATE_FAILURE:
            handleFailureState();
            break;

        case STATE_MANUAL_DRIVE:
            handleManualDriveState();

            // specify transition condition to next state
            if (isModeSwitchPushed()) {
                changeVehicleState(STATE_CRUISE_DRIVE);
            }
            break;

        case STATE_CRUISE_DRIVE:
            handleCruiseDriveState();

            // specify transition condition to next state
            if (isModeSwitchPushed()) {
                changeVehicleState(STATE_MANUAL_DRIVE);
            }
            break;

        default:
            currentState = STATE_POWER_OFF;
            break;
    }
}

void changeVehicleState(VehicleState newState) {
    switch (currentState) {
        case STATE_POWER_OFF:
        	/* exit activity */
        	// dummy activity
        	xTest = 1;
        	break;
        case STATE_INIT_ECU:
        	/* exit activity */
        	xTest = 1;
        	break;
        case STATE_INIT_SYSTEM:
        	/* exit activity */
        	xTest = 1;
        	break;
        case STATE_FAILURE:
        	/* exit activity */
        	xTest = 1;
        	break;
        case STATE_MANUAL_DRIVE:
        	/* exit activity */
        	xTest = 1;
        	break;
        case STATE_CRUISE_DRIVE:
        	/* exit activity */
        	xTest = 1;
        	break;
    }

    switch (newState) {
        case STATE_POWER_OFF:
        	/* entry activity */
        	xTest = 1;
        	break;
        case STATE_INIT_ECU:
        	/* entry activity */
        	xTest = 1;
        	break;
        case STATE_INIT_SYSTEM:
        	/* entry activity */
        	xTest = 1;
        	break;
        case STATE_FAILURE:
        	/* entry activity */
        	xTest = 1;
        	break;
        case STATE_MANUAL_DRIVE:
        	/* entry activity */
        	xTest = 1;
        	break;
        case STATE_CRUISE_DRIVE:
        	/* entry activity */
        	xTest = 1;
        	break;
    }

    currentState = newState;
}

// dummy function
void handlePowerOffState(void)
{
	// DO activity
    ledBlinkInterval = LED_BLINK_INTERVAL_POWER_OFF;

}
void handleInitECUState(void)
{
	// DO activity
    ledBlinkInterval = LED_BLINK_INTERVAL_INIT_ECU;
}
void handleInitSystemState(void)
{
	// DO activity
    ledBlinkInterval = LED_BLINK_INTERVAL_INIT_SYSTEM;
}
void handleFailureState(void)
{
	// DO activity
    ledBlinkInterval = LED_BLINK_INTERVAL_FAILURE;
}
void handleManualDriveState(void)
{
	// DO activity
    ledBlinkInterval = LED_BLINK_INTERVAL_MANUAL_DRIVE;
}
void handleCruiseDriveState(void)
{
	// DO activity
    ledBlinkInterval = LED_BLINK_INTERVAL_CRUISE_DRIVE;
}

//

int isModeSwitchPushed(void) {				//button pushed event detection
    uint32_t currentTime = HAL_GetTick();  // get current time
    GPIO_PinState buttonState = HAL_GPIO_ReadPin(GPIOC, GPIO_PIN_13);  // Read button pin

    // if button is pushed, and timer is expired then fire.
    if (buttonState == GPIO_PIN_RESET && (currentTime - lastButtonPressTime) >= DEBOUNCE_DELAY) {
        lastButtonPressTime = currentTime;  // update last time
        return 1;  // return Pushed event is true
    }

    return 0;  // return pushed event is false
}

// Timer Input Capture
void HAL_TIM_IC_CaptureCallback(TIM_HandleTypeDef *htim) {
    if (htim->Instance == TIM1) {  //
        captureValue = HAL_TIM_ReadCapturedValue(htim, TIM_CHANNEL_1);  //
        timeoutCounter = 0;  //
    }
}

// CheckTimeout Threshold
void checkTimeout(void) {
    if (++timeoutCounter >= TIMEOUT_THRESHOLD_MS) {
        captureValue = 0;  //
    }
}

// Get velocity calcluating
float getVelocity(void) {
    if (captureValue == 0) {
        return 0.0f;
    }
    float timerClockFrequency = HAL_RCC_GetPCLK2Freq();
    float prescaler = htim1.Init.Prescaler + 1;
    float timePerRotation = (captureValue * prescaler) / timerClockFrequency;
    float distancePerRotation = (3.14159f * WHEEL_DIAMETER_MM) / 1000.0f;
    float velocity = distancePerRotation / timePerRotation;
    return velocity;
}

// init PWM for acc volume
void initPWM(void) {
	HAL_TIMEx_PWMN_Start(&htim2, TIM_CHANNEL_2);   // init CH2_2 : CRUISE
}

// set PWM dutycycle
void setPWMDutyCycle(uint16_t duty) {
	if (duty > 100) duty = 100; 					     // set range duty

	uint32_t pulse = (4999 * duty) / 100;			     // compare duty cycle
	__HAL_TIM_SET_COMPARE(&htim2, TIM_CHANNEL_2, pulse); // compare duty cycle
}

void printCanErrorCounters(void) {
    FDCAN_ErrorCountersTypeDef errorCounters;

    if (HAL_FDCAN_GetErrorCounters(&hfdcan1, &errorCounters) == HAL_OK) {
        char msg[128];
        snprintf(msg, sizeof(msg),
                 "TxErrorCount: %d, RxErrorCount: %d\r\n",
                 errorCounters.TxErrorCnt,
                 errorCounters.RxErrorCnt);
        printf(msg);
    } else {
        Printf("Error reading CAN error counters.\r\n");
    }
}

// FDCAN Rx Interrupt Callback
void HAL_FDCAN_RxFifo0Callback(FDCAN_HandleTypeDef *hfdcan, uint32_t RxFifo0ITs) {
    FDCAN_RxHeaderTypeDef rxHeader;  // rdHeadr
    uint8_t rxData[8];				 // rxdata : lengh is 8 Byte

    if (HAL_FDCAN_GetRxMessage(hfdcan, FDCAN_RX_FIFO0, &rxHeader, rxData) == HAL_OK) {	// getRX mdssage , HAL OK
        if (canMessageCount < MAX_CAN_MESSAGES) {										//
            canMessages[canMessageCount].id = rxHeader.Identifier;						// CAN ID

            canMessages[canMessageCount].dlc = rxHeader.DataLength;						// parse DataLength

            memcpy(canMessages[canMessageCount].data, rxData, canMessages[canMessageCount].dlc);	 // copy memory to
            canMessageCount++;														    // increase can message count
        } else {
            printf("CAN buffer full, dropping message\r\n");
        }
    } else {
        printf("Failed to get CAN message\r\n");
    }
}

void CAN_TxMessage(uint32_t id, uint8_t dlc, uint8_t *data) {
    FDCAN_TxHeaderTypeDef txHeader;
    HAL_StatusTypeDef txStatus;
    // verify DLC
    if (dlc >8){
    	printf("Invalid DLC value.\r\n");
    	return;
    }

    if (data==NULL) {
    	printf("Data pointer is NULL\r\n");
    	return;
    }

    if (HAL_FDCAN_GetTxFifoFreeLevel(&hfdcan1)==0){
    	printf("Tx FIFO is full. \r\n");
    	return;
    }

    // Configure the TxHeader
    txHeader.Identifier = id;                        // CAN ID
    txHeader.IdType = FDCAN_STANDARD_ID;             // Standard ID
    txHeader.TxFrameType = FDCAN_DATA_FRAME;         // Data frame
    txHeader.DataLength = FDCAN_DLC_BYTES_8;                 // DLC 8 Byte
    txHeader.ErrorStateIndicator = FDCAN_ESI_ACTIVE; // Err
    txHeader.BitRateSwitch = FDCAN_BRS_OFF;          // bitrate
    txHeader.FDFormat = FDCAN_CLASSIC_CAN;           // Classic format
    txHeader.TxEventFifoControl = FDCAN_NO_TX_EVENTS; // no tex event
    txHeader.MessageMarker = 0;                      // no marker

    // Send CAN message
    txStatus = HAL_FDCAN_AddMessageToTxFifoQ(&hfdcan1, &txHeader, data);
    if (txStatus == HAL_OK) {
        printf("CAN message transmitted successfully.\r\n");
    } else {
        printf("Failed to transmit CAN message.\r\n");
    }
}

//CAN message process
void processCanMessages(void) {															// printout can message
    uint32_t currentTime = HAL_GetTick();

    if ((currentTime - lastUartSendTime) >= UART_SEND_INTERVAL) {					    // print out, UART_Send Interval
        lastUartSendTime = currentTime;													// update last time

        for (uint8_t i = 0; i < canMessageCount; i++) {								    // for Messages in the FIFO
            char msg[128];															    // message length is 128 This is for debugging

            // Printout CAN message
            snprintf(msg, sizeof(msg), "Message in the buffer : CAN ID: 0x%03lX, DLC: %d, Data:", canMessages[i].id, canMessages[i].dlc); // CAN ID, DLC and
            printf(msg);

            // ?��?��?�� 출력
            for (uint8_t j = 0; j < canMessages[i].dlc; j++) {							// print out CAN data, dlc length is 8 Byte
                snprintf(msg, sizeof(msg), " %02X", canMessages[i].data[j]);
                printf(msg);
            }

            printf("\r\n");
        }

        canMessageCount = 0;															// Reset canMessageCount pointer
    }
}

// UART RX callback
void HAL_UART_RxCpltCallback(UART_HandleTypeDef *huart) {
    if (huart->Instance == USART3) {  // USART3에서 수신 완료
        // 수신된 데이터를 VCP로 전송
        HAL_UART_Transmit(&hcom_uart[COM1], usart3RxBuffer, RX_BUFFER_SIZE, HAL_MAX_DELAY); // echo back to VCP printout channel
    }
}

// dummy function
int isInitSuccess(void) {
    // Replace this with the actual condition to check initialization success
    if (1) { // 1 is treated as TRUE in C
        return 1; // Initialization success
    } else {
        return 0; // Initialization failure
    }
}

/* USER CODE END 4 */

void Error_Handler(void)
{
  /* USER CODE BEGIN Error_Handler_Debug */
  /* User can add his own implementation to report the HAL error return state */
  __disable_irq();
  while (1)
  {
	  //error handler
  }
  /* USER CODE END Error_Handler_Debug */
}
